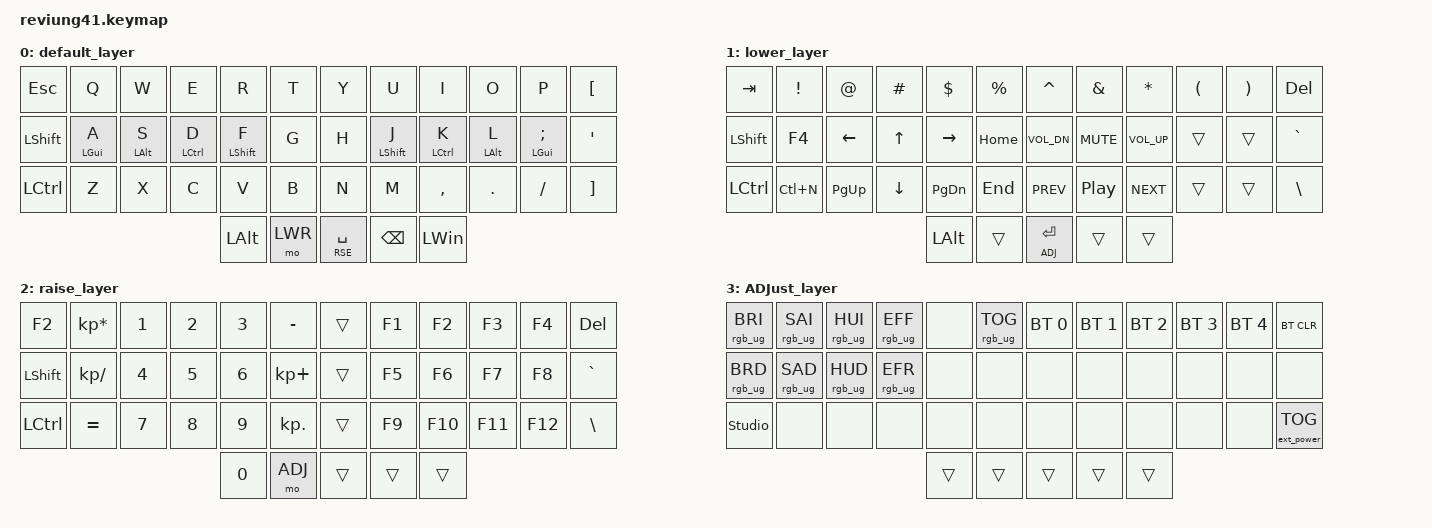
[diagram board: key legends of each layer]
/*
 * Copyright (c) 2020 The ZMK Contributors
 *
 * SPDX-License-Identifier: MIT
 */

#include <behaviors.dtsi>
#include <dt-bindings/zmk/outputs.h>
#include <dt-bindings/zmk/keys.h>
#include <dt-bindings/zmk/bt.h>
#include <dt-bindings/zmk/rgb.h>
#include <dt-bindings/zmk/ext_power.h>
#define DEF 0
#define LWR 1
#define RSE 2
#define ADJ 3

&lt { quick_tap_ms = <200>; };
&mt { quick_tap_ms = <200>; };

/ {
    behaviors {
        hm: homerow_mods {
            compatible = "zmk,behavior-hold-tap";
            label = "HOMEROW_MODS";
            #binding-cells = <2>;
            tapping-term-ms = <200>;
            quick_tap_ms = <0>;
            flavor = "tap-preferred";
            bindings = <&kp>, <&kp>;
        };
    };
};

/ {
    combos {
        compatible = "zmk,combos";
        combo_F2 {
            timeout-ms = <50>;
            key-positions = <0 1>;
            bindings = <&kp F2>;
        };
        combo_ENTER {
            timeout-ms = <50>;
            key-positions = <3 4>;
            bindings = <&kp ENTER>;
        };
         combo_BS {
            timeout-ms = <50>;
            key-positions = <4 5>;
            bindings = <&kp BSPC>;
        };
        combo_Del {
            timeout-ms = <50>;
            key-positions = <28 29>;
            bindings = <&kp DEL>;
        };
    };
};


/ {
        keymap {
                compatible = "zmk,keymap";

                default_layer {
// -------------------------------------------------------------------------------------
// | ESС  |  Q  |  W  |  E  |  R  |  T  |·········|  Y   |  U   |  I  |  O  |  P  |  [  |
// | SHFT |  A  |  S  |  D  |  F  |  G  |·········|  H   |  J   |  K  |  L  |  ;  |  '  |
// | CTRL |  Z  |  X  |  C  |  V  |  B  |·········|  N   |  M   |  ,  |  .  |  /  |  ]  |
//                          | ALT | LWR | RSE_SPC | BKSP | WIN  |
                        bindings = <
   &kp ESC    &kp Q       &kp W       &kp E        &kp R        &kp T         &kp Y  &kp U        &kp I        &kp O       &kp P          &kp LBKT
   &kp LSHFT  &hm LGUI A  &hm LALT S  &hm LCTRL D  &hm LSHFT F  &kp G         &kp H  &hm LSHFT J  &hm LCTRL K  &hm LALT L  &hm LGUI SEMI  &kp SQT
   &kp LCTRL  &kp Z       &kp X       &kp C        &kp V        &kp B         &kp N  &kp M        &kp COMMA    &kp DOT     &kp FSLH       &kp RBKT
                                                 &kp LALT  &mo LWR &lt RSE SPACE &kp BSPC  &kp LWIN
                        >;
                };

                lower_layer {
// ----------------------------------------------------------------------------------
// |  TAB  |   !    |   @   |  #   |   $   |  %   |···········|    ^   |   &  |    *   |  (  |  )  |  DEL  |
// |  SHFT |   F4   | LEFT  |  UP  | RIGHT | HOME |···········| vol up | mute | vol dn |     |     |   ~   |
// |  CTRL | CTRL+N | PG_UP | DOWN | PG_DN | END  |···········|  prev  | play |  next  |     |     |   \   |
//                                 |  ALT  |      | ADJ_ENTER |        |      |
                        bindings = <
   &kp TAB    &kp EXCL  &kp AT     &kp HASH &kp DLLR  &kp PRCNT    &kp CARET    &kp AMPS   &kp STAR     &kp LPAR   &kp RPAR  &kp DEL
   &kp LSHFT  &kp F4    &kp LEFT   &kp UP   &kp RIGHT &kp HOME     &kp C_VOL_DN &kp C_MUTE &kp C_VOL_UP &trans     &trans    &kp GRAVE
   &kp LCTRL  &kp LC(N) &kp PG_UP  &kp DOWN &kp PG_DN &kp END      &kp C_PREV   &kp C_PP   &kp C_NEXT   &trans     &trans    &kp BSLH
                                   &kp LALT &trans       &lt ADJ ENTER          &trans     &trans
                        >;
                };

                raise_layer {
// ----------------------------------------------------------------------------------------
// |  F2  |  *  |  1  |  2  |  3  |  -  |·········|     | F1 | F2  | F3  | F4  | DEL |
// | SHFT |  /  |  4  |  5  |  6  |  +  |·········|     | F5 | F6  | F7  | F8  |  ~  |
// | CTRL |  =  |  7  |  8  |  9  |  .  |·········|     | F9 | F10 | F11 | F12 |  \  |
//                          |  0  | ADJ |         |     |    |
                        bindings = <
   &kp F2    &kp KP_ASTERISK &kp N1 &kp N2 &kp N3 &kp MINUS             &trans &kp F1  &kp F2  &kp F3  &kp F4  &kp DEL
   &kp LSHFT &kp KP_SLASH    &kp N4 &kp N5 &kp N6 &kp KP_PLUS           &trans &kp F5  &kp F6  &kp F7  &kp F8  &kp GRAVE
   &kp LCTRL &kp EQUAL       &kp N7 &kp N8 &kp N9 &kp KP_DOT            &trans &kp F9  &kp F10 &kp F11 &kp F12 &kp BSLH
                                           &kp N0 &mo ADJ    &trans  &trans &trans
                        >;
                };

                ADJust_layer {
// -----------------------------------------------------------------------------------------
// |  RGB BRI+  | RGB SAT+ | RGB HUE+ | RGB ANI+ |         | RGB TOG |·········|  BT1  |  BT2  |  BT3  |  BT4  |  BT5  | BT CLR |
// |  RGB BRI-  | RGB SAT- | RGB HUE- | RGB ANI+ |         |         |·········|       |       |       |       |       |        |
// | zmk-studio |          |          |          |         |         |·········|       |       |       |       |       | EXT_POWER_TOGGLE_CMD |
//                                               |         |         |         |       |       |
                        bindings = <
   &rgb_ug RGB_BRI &rgb_ug RGB_SAI &rgb_ug RGB_HUI &rgb_ug RGB_EFF &none &rgb_ug RGB_TOG     &bt BT_SEL 0 &bt BT_SEL 1 &bt BT_SEL 2 &bt BT_SEL 3 &bt BT_SEL 4 &bt BT_CLR
   &rgb_ug RGB_BRD &rgb_ug RGB_SAD &rgb_ug RGB_HUD &rgb_ug RGB_EFR &none &none               &none        &none        &none        &none        &none        &none
   &studio_unlock  &none           &none           &none           &none &none               &none        &none        &none        &none        &none        &ext_power EP_TOG
                                                             &trans      &trans    &trans    &trans       &trans
                        >;
                };
        };
};
